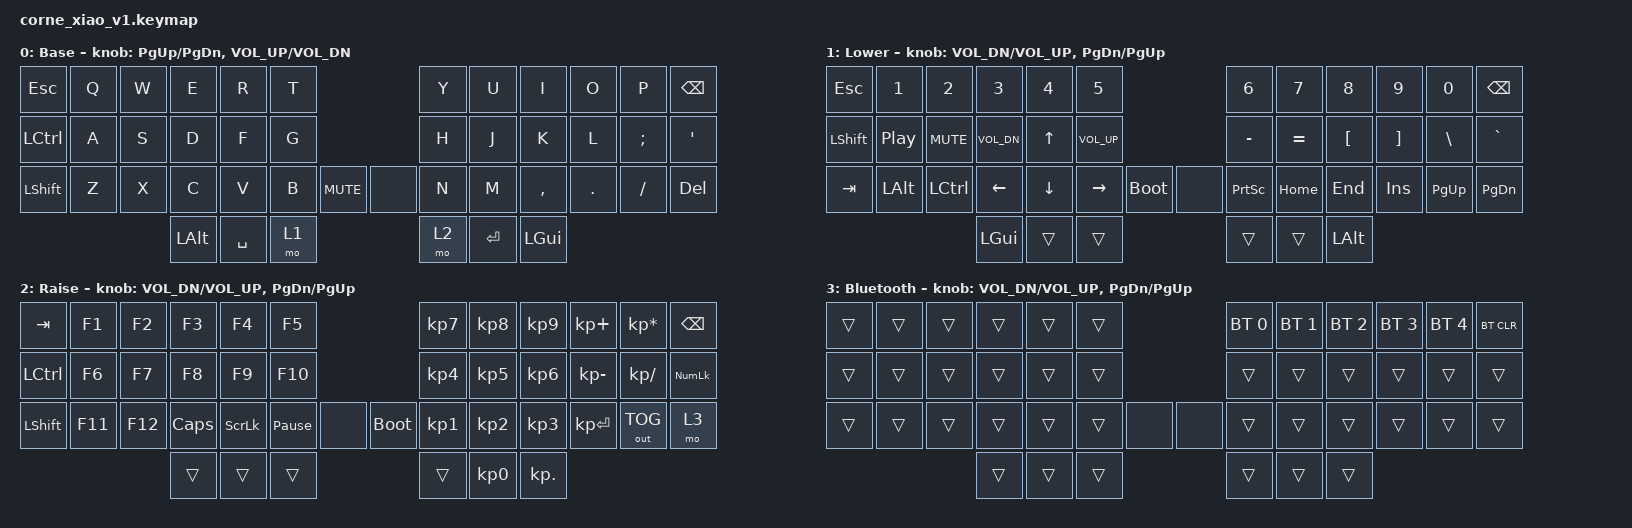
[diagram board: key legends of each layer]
#include <behaviors.dtsi>
#include <dt-bindings/zmk/keys.h>
#include <dt-bindings/zmk/bt.h>
#include <dt-bindings/zmk/outputs.h>

/ {
    combos {
        compatible = "zmk,combos";
        combo_studio_unlock {
            timeout-ms = <50>;
            key-positions = <0 1>;
            bindings = <&studio_unlock>;
        };
    };
};

/ {
    keymap {
        compatible = "zmk,keymap";

        default_layer {
            display-name = "Base";
                        sensor-bindings = <&inc_dec_kp PG_UP PG_DN &inc_dec_kp C_VOL_UP C_VOL_DN>;

// -------------------------------------------------------------------------------------------------
// | ESC  |  Q  |  W  |  E  |  R  |  T  |                    |  Y  |  U   |  I  |  O  |  P  | BKSP |
// | CTRL |  A  |  S  |  D  |  F  |  G  |                    |  H  |  J   |  K  |  L  |  ;  |  '   |
// | SHFT |  Z  |  X  |  C  |  V  |  B  |  MUTE  |  |        |  N  |  M   |  ,  |  .  |  /  | DEL  |
//                    | ALT | SPC | LWR |                    | RSE | ENT  | GUI |
            bindings = <
&kp ESC    &kp Q  &kp W  &kp E     &kp R      &kp T                  &kp Y  &kp U    &kp I      &kp O    &kp P     &kp BSPC
&kp LCTRL  &kp A  &kp S  &kp D     &kp F      &kp G                  &kp H  &kp J    &kp K      &kp L    &kp SEMI  &kp SQT
&kp LSHFT  &kp Z  &kp X  &kp C     &kp V      &kp B &kp C_MUTE &none &kp N  &kp M    &kp COMMA  &kp DOT  &kp FSLH  &kp DEL
                         &kp LALT  &kp SPACE  &mo 1                  &mo 2  &kp RET  &kp LGUI
            >;
        };

        lower_layer {
            display-name = "Lower";
            sensor-bindings = <&inc_dec_kp C_VOL_DN C_VOL_UP &inc_dec_kp PG_DN PG_UP>;

// ------------------------------------------------------------------------------------------------
// |  ESC |  1  |  2  |  3  |  4  |  5  |                    |   6   |  7  |  8  |  9  |  0  | BKSP |
// | SHFT | PLPA| MUTE|VODWN|  UP |VOLUP|                    |   -   |  =  |  [  |  ]  |  \  |  `   |
// | TAB  | ALT | CTRL| LFT | DWN | RGT |  boot  |  |        | Pscrn | HOME| END | INS | PGUP| PGDN |
//                    | GUI |     |     |                    |       |     | ALT |
            bindings = <
&kp ESC         &kp N1           &kp N2     &kp N3        &kp N4    &kp N5                         &kp N6           &kp N7      &kp N8    &kp N9    &kp N0      &kp BSPC
&kp LEFT_SHIFT  &kp C_PLAY_PAUSE &kp C_MUTE &kp C_VOL_DN  &kp UP    &kp C_VOL_UP                   &kp MINUS        &kp EQUAL   &kp LBKT  &kp RBKT  &kp BSLH    &kp GRAVE
&kp TAB         &kp LALT         &kp LCTRL  &kp LEFT      &kp DOWN  &kp RIGHT    &bootloader &none &kp PRINTSCREEN  &kp HOME    &kp END   &kp INS   &kp PAGE_UP &kp PAGE_DOWN
                                 &kp LGUI   &trans        &trans                                   &trans           &trans      &kp LALT
            >;
        };

        raise_layer {
            display-name = "Raise";
            sensor-bindings = <&inc_dec_kp C_VOL_DN C_VOL_UP &inc_dec_kp PG_DN PG_UP>;

// ------------------------------------------------------------------------------------------------
// | TAB  |  F1  |  F2  |  F3  |  F4  |  F5  |                    |  7  |  8  |  9  |  +  |  *  | BKSP |
// | CTRL |  F6  |  F7  |  F8  |  F9  |  F10 |                    |  4  |  5  |  6  |  -  |  /  | NMLK |
// | SHFT |  F11 |  F12 | CAPS |SCRLK |      |        |  |  boot  |  1  |  2  |  3  |ENTR |OPTOG|  BT  |
//                         | GUI |     | SPC |                    |     |  0  |  .  |
            bindings = <
&kp TAB    &kp F1   &kp F2   &kp F3    &kp F4          &kp F5                              &kp KP_N7  &kp KP_N8        &kp KP_N9  &kp KP_PLUS      &kp KP_MULTIPLY  &kp BSPC
&kp LCTRL  &kp F6   &kp F7   &kp F8    &kp F9          &kp F10                             &kp KP_N4  &kp KP_N5        &kp KP_N6  &kp KP_SUBTRACT  &kp KP_DIVIDE    &kp KP_NUMLOCK
&kp LSHFT  &kp F11  &kp F12  &kp CAPS  &kp SCROLLLOCK  &kp PAUSE_BREAK  &none &bootloader  &kp KP_N1  &kp KP_N2        &kp KP_N3  &kp KP_ENTER     &out OUT_TOG     &mo 3
                             &trans    &trans          &trans                              &trans     &kp KP_NUMBER_0  &kp KP_DOT
            >;
        };

        extra1 {
            display-name = "Bluetooth";
            sensor-bindings = <&inc_dec_kp C_VOL_DN C_VOL_UP &inc_dec_kp PG_DN PG_UP>;

// ------------------------------------------------------------------------------------------------
// |      |     |     |     |     |     |                    | bt0 | bt1 | bt2 | bt3 | bt4 | BTCLR |
// |      |     |     |     |     |     |                    |     |     |     |     |     |       |
// |      |     |     |     |     |     |        |  |        |     |     |     |     |     |       |
//                    |     |     |     |                    |     |     |     |
            bindings = <
&trans  &trans  &trans  &trans  &trans  &trans             &bt BT_SEL 0  &bt BT_SEL 1  &bt BT_SEL 2  &bt BT_SEL 3  &bt BT_SEL 4  &bt BT_CLR
&trans  &trans  &trans  &trans  &trans  &trans             &trans        &trans        &trans        &trans        &trans        &trans
&trans  &trans  &trans  &trans  &trans  &trans &none &none &trans        &trans        &trans        &trans        &trans        &trans
                        &trans  &trans  &trans             &trans        &trans        &trans
            >;
        };

        extra2 {
            display-name = "extra";
            status = "reserved";
        };
    };
};
